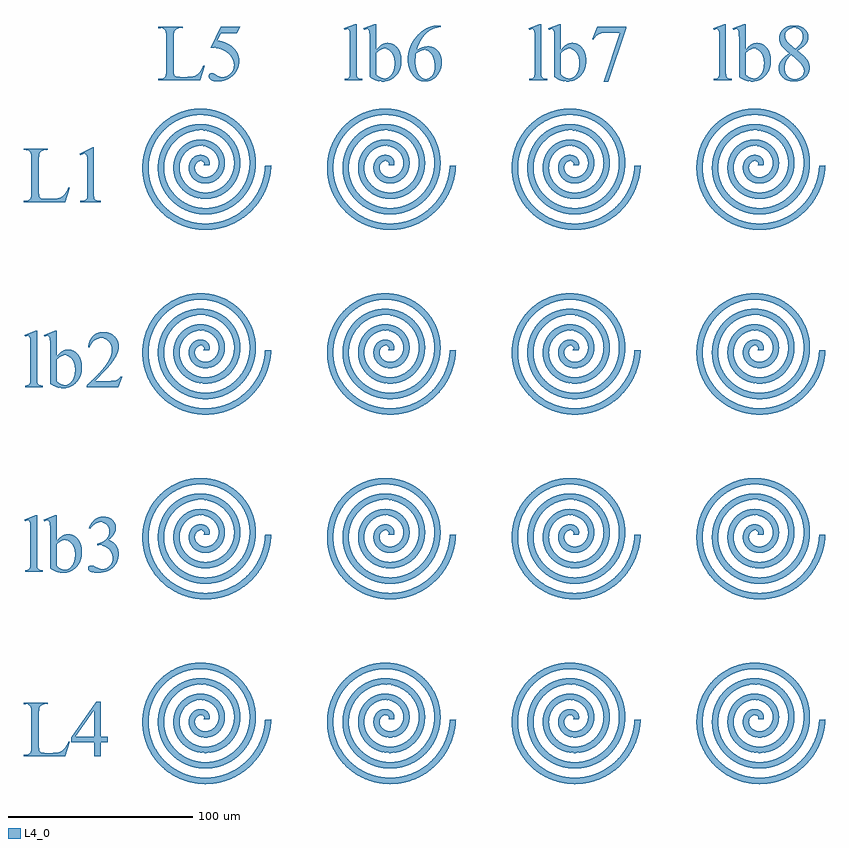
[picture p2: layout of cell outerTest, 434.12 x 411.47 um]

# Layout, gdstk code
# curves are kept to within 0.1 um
import gdstk
lib = gdstk.Library(unit=1e-6, precision=1e-09)
def P(c, l, *ps):  # polygons
    for p in ps: c.add(gdstk.Polygon(p, *l))
L4_0 = (4, 0)

spiral = lib.new_cell('spiral')
P(spiral, L4_0, [(0,0),(0.503,0.218),(0.745,0.767),(3.108,3.217),(3.62,1.585),(3.404,0.009)],
  [(0.745,0.767),(0.55,1.55),(-0.062,2.138),(-0.177,5.54),(0.832,5.223),(1.76,4.703),(2.517,4.033),(3.108,3.217)],
  [(-0.062,2.138),(-1.173,2.433),(-2.366,2.167),(-4.888,4.453),(-3.807,5.093),(-2.605,5.506),(-1.336,5.655),(-0.177,5.54)],
  [(-7.667,-0.469),(-7.343,1.026),(-6.741,2.376),(-5.905,3.53),(-4.888,4.453),(-2.366,2.167),(-3.577,1.192),(-4.271,-0.25)],
  [(-5.702,-6.639),(-6.654,-5.284),(-7.333,-3.736),(-7.672,-2.133),(-7.667,-0.469),(-4.271,-0.25),(-4.396,-1.209),(-4.286,-2.277),(-3.495,-4.047)],
  [(0.886,-9.781),(-0.952,-9.519),(-2.745,-8.885),(-4.4,-7.873),(-5.702,-6.639),(-3.495,-4.047),(-2.753,-4.894),(-1.808,-5.598),(-0.69,-6.111),(0.561,-6.393)],
  [(1.283,-9.79),(0.886,-9.781),(0.561,-6.393),(1.896,-6.41),(3.325,-6.121),(4.582,-5.579),(5.806,-4.726),(8.465,-6.852),(6.945,-8.074),(5.169,-9.02),(3.29,-9.593)],
  [(8.465,-6.852),(5.806,-4.726),(6.914,-3.54),(7.737,-2.168),(8.28,-0.607),(8.498,0.997),(11.874,1.426),(11.655,-0.94),(11.023,-3.056),(9.958,-5.064)],
  [(8.498,0.997),(8.399,2.661),(7.904,4.492),(7.055,6.148),(5.856,7.64),(7.898,10.363),(9.448,8.619),(10.689,6.547),(11.495,4.321),(11.854,2.029),(11.874,1.426)],
  [(5.856,7.64),(4.339,8.891),(2.458,9.873),(0.563,10.413),(-1.556,10.581),(-2.09,13.943),(0.295,13.868),(2.725,13.356),(4.982,12.429),(7.102,11.051),(7.898,10.363)],
  [(-9.542,6.881),(-12.327,8.838),(-11.283,9.937),(-9.297,11.525),(-7.102,12.734),(-4.63,13.572),(-2.09,13.943),(-1.556,10.581),(-3.826,10.288),(-5.934,9.55),(-7.897,8.375)],
  [(-15.981,-2.875),(-15.983,0.192),(-15.365,3.308),(-14.156,6.187),(-12.327,8.838),(-9.542,6.881),(-10.963,4.959),(-12.03,2.624),(-12.579,0.186),(-12.638,-2.237)],
  [(-9.67,-14.354),(-12.028,-12.089),(-13.967,-9.311),(-15.291,-6.249),(-15.981,-2.875),(-12.638,-2.237),(-12.19,-4.801),(-11.218,-7.273),(-9.74,-9.544),(-7.8,-11.51)],
  [(1.403,-18.149),(-1.488,-17.928),(-4.443,-17.197),(-7.195,-15.99),(-9.67,-14.354),(-7.8,-11.51),(-5.461,-13.077),(-2.667,-14.204),(0.212,-14.718),(3.04,-14.662),(3.78,-17.984)],
  [(3.78,-17.984),(3.04,-14.662),(6.142,-13.963),(8.948,-12.683),(11.484,-10.836),(13.538,-8.608),(16.439,-10.389),(13.854,-13.263),(10.79,-15.532),(7.383,-17.12)],
  [(16.439,-10.389),(13.538,-8.608),(15.228,-5.843),(16.389,-2.584),(16.842,0.735),(16.647,3.962),(19.946,4.804),(20.193,2.771),(20.235,0.736),(20.074,-1.279),(19.714,-3.255),(18.425,-7.012)],
  [(16.647,3.962),(15.771,7.302),(14.222,10.448),(12.042,13.263),(9.304,15.621),(10.995,18.576),(13.52,16.569),(15.696,14.228),(17.479,11.611),(18.836,8.784),(19.492,6.816),(19.946,4.804)],
  [(9.304,15.621),(6.103,17.41),(2.559,18.541),(-1.192,18.947),(-5.002,18.59),(-5.946,21.861),(-2.589,22.305),(0.544,22.261),(3.83,21.732),(6.97,20.726),(9.141,19.702),(10.995,18.576)],
  [(-17.755,9.884),(-20.761,11.483),(-19.401,13.422),(-17.699,15.374),(-15.073,17.694),(-12.356,19.466),(-9.227,20.91),(-5.946,21.861),(-5.002,18.59),(-8.715,17.465),(-12.175,15.596),(-13.764,14.4),(-15.234,13.041),(-16.57,11.531)],
  [(-23.725,-7.203),(-24.194,-4.773),(-24.417,-2.321),(-24.393,0.127),(-24.125,2.548),(-23.619,4.916),(-22.883,7.21),(-21.926,9.405),(-20.761,11.483),(-17.755,9.884),(-18.776,8.115),(-19.62,6.241),(-20.275,4.278),(-20.734,2.247),(-20.989,0.167),(-21.034,-1.941),(-20.866,-4.057),(-20.485,-6.158)],
  [(-11.852,-22.988),(-14.015,-21.578),(-16.015,-19.967),(-17.835,-18.173),(-19.458,-16.216),(-20.868,-14.117),(-22.056,-11.9),(-23.01,-9.587),(-23.725,-7.203),(-20.485,-6.158),(-19.891,-8.224),(-19.089,-10.232),(-18.083,-12.161),(-16.881,-13.991),(-15.494,-15.701),(-13.933,-17.274),(-12.212,-18.69),(-10.347,-19.935)],
  [(1.434,-26.533),(-2.005,-26.322),(-5.365,-25.67),(-8.59,-24.594),(-11.852,-22.988),(-10.347,-19.935),(-8.354,-20.992),(-6.254,-21.85),(-4.065,-22.497),(-1.581,-22.954),(0.723,-23.13),(3.046,-23.075),(5.134,-22.826),(7.429,-22.326),(8.574,-25.532),(4.893,-26.295)],
  [(8.574,-25.532),(7.429,-22.326),(9.676,-21.595),(11.85,-20.637),(13.929,-19.459),(15.89,-18.072),(17.713,-16.486),(19.377,-14.717),(20.863,-12.778),(22.155,-10.69),(25.254,-12.1),(23.805,-14.491),(22.133,-16.715),(20.256,-18.75),(18.194,-20.578),(15.971,-22.183),(13.609,-23.551),(11.135,-24.67)],
  [(25.254,-12.1),(22.155,-10.69),(23.237,-8.47),(24.096,-6.141),(24.721,-3.725),(25.103,-1.245),(25.235,1.274),(25.114,3.807),(24.738,6.328),(24.108,8.812),(27.278,10.056),(28.016,7.249),(28.467,4.395),(28.631,1.524),(28.506,-1.335),(28.098,-4.155),(27.413,-6.907),(26.461,-9.564)],
  [(24.108,8.812),(23.229,11.233),(22.105,13.566),(20.747,15.786),(19.165,17.87),(17.373,19.794),(15.388,21.538),(13.227,23.083),(10.911,24.41),(12.225,27.551),(15.603,25.586),(18.902,23.013),(21.599,20.25),(24.06,16.93),(25.898,13.588),(27.278,10.056)],
  [(10.911,24.41),(8.462,25.505),(5.903,26.352),(3.258,26.943),(0.555,27.267),(-2.181,27.32),(-4.921,27.097),(-7.638,26.599),(-10.305,25.828),(-11.646,28.957),(-7.751,30.054),(-3.46,30.656),(0.54,30.672),(4.786,30.111),(8.599,29.07),(12.225,27.551)],
  [(-26.696,11.009),(-29.876,12.225),(-27.888,15.909),(-25.248,19.53),(-22.38,22.515),(-19.167,25.088),(-15.666,27.211),(-11.646,28.957),(-10.305,25.828),(-12.894,24.788),(-15.377,23.489),(-17.73,21.941),(-19.925,20.156),(-21.941,18.151),(-23.755,15.945),(-25.346,13.557)],
  [(-30.565,-13.342),(-31.617,-10.183),(-32.345,-6.948),(-32.744,-3.669),(-32.813,-0.38),(-32.554,2.886),(-31.972,6.096),(-31.076,9.219),(-29.876,12.225),(-26.696,11.009),(-27.79,8.328),(-28.614,5.537),(-29.157,2.665),(-29.411,-0.26),(-29.371,-3.21),(-29.034,-6.154),(-28.402,-9.062),(-27.478,-11.905)],
  [(-12.1,-32.223),(-15.197,-30.734),(-18.118,-28.95),(-20.836,-26.891),(-23.325,-24.58),(-25.561,-22.041),(-27.524,-19.302),(-29.197,-16.393),(-30.565,-13.342),(-27.478,-11.905),(-26.269,-14.654),(-24.785,-17.28),(-23.037,-19.755),(-21.042,-22.053),(-18.818,-24.149),(-16.384,-26.02),(-13.764,-27.646),(-10.983,-29.007)],
  [(1.426,-34.925),(-2.06,-34.76),(-5.499,-34.249),(-8.856,-33.399),(-12.1,-32.223),(-10.983,-29.007),(-8.067,-30.087),(-5.044,-30.874),(-1.945,-31.357),(1.2,-31.528),(4.36,-31.383),(7.503,-30.921),(10.597,-30.144),(13.61,-29.056),(15.142,-32.097),(11.817,-33.322),(8.4,-34.206),(4.924,-34.741)],
  [(15.142,-32.097),(13.61,-29.056),(16.511,-27.667),(19.271,-25.988),(21.859,-24.033),(24.248,-21.82),(26.413,-19.369),(28.33,-16.704),(29.978,-13.848),(31.337,-10.83),(34.586,-11.847),(33.109,-15.185),(31.313,-18.347),(29.216,-21.302),(26.844,-24.023),(24.222,-26.485),(21.377,-28.663),(18.339,-30.54)],
  [(34.586,-11.847),(31.337,-10.83),(32.3,-7.998),(32.941,-5.409),(33.375,-2.768),(33.596,-0.092),(37,0),(36.775,-2.948),(36.243,-6.221),(35.526,-9.071)])

outertest = lib.new_cell('outerTest')
P(outertest, L4_0, [(-87.125,-100),(-87.125,-99.203),(-84.872,-99.061),(-84.12,-98.733),(-83.534,-98.215),(-83.065,-97.055),(-82.922,-94.828),(-82.922,-75.848),(-83.074,-73.805),(-83.388,-72.813),(-83.939,-72.238),(-85.156,-71.732),(-87.125,-71.656),(-87.125,-70.859),(-73.922,-70.859),(-73.922,-71.656),(-76.234,-71.81),(-77.608,-72.335),(-78.358,-73.066),(-78.649,-73.932),(-78.796,-76.199),(-78.797,-94.828),(-78.57,-96.98),(-78.31,-97.478),(-77.856,-97.847),(-76.557,-98.102),(-70.633,-98.125),(-67.653,-97.717),(-66.184,-96.969),(-64.868,-95.744),(-63.823,-94.164),(-62.781,-91.937),(-62.062,-92.094),(-64.562,-100)],
  [(-56.328,-100),(-56.328,-99.203),(-53.745,-98.882),(-53.01,-98.314),(-52.726,-97.615),(-52.595,-95.179),(-52.606,-77.69),(-52.784,-75.12),(-53.303,-74.089),(-53.852,-73.782),(-54.521,-73.729),(-56.516,-74.391),(-56.844,-73.719),(-49.75,-70.266),(-49.047,-70.266),(-48.951,-97.357),(-48.752,-98.13),(-48.289,-98.658),(-47.32,-99.038),(-45.375,-99.203),(-45.375,-100)],
  [(-53.047,-200),(-53.047,-199.203),(-46.59,-192.916),(-44.202,-190.249),(-42.375,-187.898),(-41.095,-185.886),(-40.154,-183.956),(-39.583,-182.23),(-39.308,-180.577),(-39.415,-178.412),(-40.011,-176.681),(-41.191,-175.119),(-42.715,-174.052),(-44.04,-173.632),(-45.313,-173.552),(-46.715,-173.754),(-48.016,-174.254),(-49.109,-174.967),(-50.055,-175.914),(-50.826,-177.092),(-51.422,-178.5),(-52.219,-178.5),(-51.871,-176.734),(-51.297,-175.076),(-50.514,-173.651),(-49.522,-172.457),(-48.274,-171.461),(-46.87,-170.764),(-45.309,-170.367),(-43.576,-170.271),(-41.904,-170.466),(-40.287,-170.985),(-38.998,-171.709),(-37.838,-172.682),(-36.836,-173.883),(-36.131,-175.186),(-35.74,-176.501),(-35.609,-177.906),(-35.731,-179.432),(-36.097,-180.957),(-37.432,-183.882),(-39.763,-187.313),(-43.66,-191.731),(-48.484,-196.75),(-40.051,-196.744),(-37.739,-196.599),(-36.73,-196.318),(-35.93,-195.883),(-35.225,-195.248),(-34.625,-194.391),(-33.828,-194.391),(-35.859,-200)],
  [(-86.328,-200),(-86.328,-199.219),(-84.869,-199.09),(-84.137,-198.687),(-83.686,-197.982),(-83.492,-197.08),(-83.431,-176.168),(-83.552,-173.691),(-83.898,-172.717),(-84.332,-172.375),(-84.842,-172.267),(-86.328,-172.609),(-86.687,-171.859),(-80.828,-169.453),(-79.859,-169.453),(-79.791,-197.092),(-79.603,-197.969),(-79.134,-198.644),(-78.316,-199.075),(-76.672,-199.219),(-76.672,-200)],
  [(-65.672,-200.609),(-67.076,-200.506),(-68.496,-200.197),(-71.268,-199.031),(-64.138,-199.006),(-63.019,-198.677),(-61.892,-197.921),(-60.526,-196.315),(-59.656,-194.244),(-59.261,-191.622),(-59.368,-188.637),(-59.739,-187.015),(-60.348,-185.641),(-61.351,-184.346),(-62.488,-183.437),(-63.717,-182.923),(-65.051,-182.806),(-66.334,-183.07),(-67.63,-183.724),(-69.234,-185.094),(-69.234,-196.859),(-68.121,-197.805),(-66.969,-198.484),(-65.781,-198.895),(-64.562,-199.031),(-71.268,-199.031),(-72.781,-198.109),(-72.782,-177.311),(-72.901,-173.835),(-73.141,-172.951),(-73.572,-172.451),(-74.454,-172.271),(-75.812,-172.609),(-76.109,-171.859),(-70.203,-169.453),(-69.234,-169.453),(-69.234,-183.719),(-67.497,-181.704),(-65.581,-180.342),(-63.68,-179.769),(-61.507,-179.917),(-60.392,-180.304),(-59.42,-180.851),(-57.575,-182.575),(-56.367,-184.643),(-55.69,-187.157),(-55.539,-189.894),(-55.837,-192.342),(-56.51,-194.402),(-57.648,-196.351),(-59.376,-198.179),(-61.337,-199.529),(-63.544,-200.366)],
  [(-47.141,-300.516),(-49.745,-300.308),(-50.691,-300.031),(-51.346,-299.643),(-51.985,-298.975),(-52.215,-298.322),(-52.092,-297.631),(-51.581,-297.005),(-50.839,-296.67),(-49.885,-296.695),(-45.869,-298.435),(-44.49,-298.637),(-43.207,-298.535),(-41.866,-298.043),(-40.658,-297.151),(-39.596,-295.825),(-39.02,-294.454),(-38.829,-292.831),(-39.065,-291.051),(-39.72,-289.333),(-40.646,-287.962),(-42.067,-286.882),(-43.848,-286.042),(-45.483,-285.629),(-47.312,-285.547),(-47.312,-284.891),(-45.831,-284.557),(-44.341,-283.913),(-42.936,-282.998),(-41.875,-281.924),(-41.248,-280.884),(-40.804,-279.56),(-40.657,-278.231),(-40.766,-276.952),(-41.31,-275.491),(-42.304,-274.31),(-43.592,-273.529),(-45.229,-273.193),(-46.699,-273.313),(-48.018,-273.775),(-49.638,-274.949),(-51.062,-276.75),(-51.766,-276.406),(-50.921,-274.701),(-50.053,-273.389),(-49.082,-272.288),(-48.001,-271.406),(-46.775,-270.772),(-45.4,-270.392),(-44.052,-270.267),(-42.422,-270.375),(-40.702,-270.872),(-39.339,-271.714),(-38.106,-273.08),(-37.328,-274.639),(-37.109,-276.571),(-37.656,-278.591),(-38.984,-280.651),(-41.094,-282.75),(-39.686,-283.411),(-38.486,-284.214),(-37.493,-285.162),(-36.635,-286.378),(-36.091,-287.594),(-35.742,-289.075),(-35.657,-290.477),(-35.788,-292.076),(-36.258,-293.887),(-37.01,-295.46),(-38.161,-297.018),(-39.565,-298.313),(-41.068,-299.243),(-42.921,-299.965),(-44.839,-300.367)],
  [(-86.328,-300),(-86.328,-299.219),(-84.869,-299.09),(-84.137,-298.687),(-83.686,-297.982),(-83.492,-297.08),(-83.431,-276.168),(-83.552,-273.691),(-83.898,-272.717),(-84.332,-272.375),(-84.842,-272.267),(-86.328,-272.609),(-86.687,-271.859),(-80.828,-269.453),(-79.859,-269.453),(-79.791,-297.092),(-79.603,-297.969),(-79.134,-298.644),(-78.316,-299.075),(-76.672,-299.219),(-76.672,-300)],
  [(-65.672,-300.609),(-67.076,-300.506),(-68.496,-300.197),(-71.268,-299.031),(-64.138,-299.006),(-63.019,-298.677),(-61.892,-297.921),(-60.526,-296.315),(-59.656,-294.244),(-59.261,-291.622),(-59.368,-288.637),(-59.739,-287.015),(-60.348,-285.641),(-61.351,-284.346),(-62.488,-283.437),(-63.717,-282.923),(-65.051,-282.806),(-66.334,-283.07),(-67.63,-283.724),(-69.234,-285.094),(-69.234,-296.859),(-68.121,-297.805),(-66.969,-298.484),(-65.781,-298.895),(-64.562,-299.031),(-71.268,-299.031),(-72.781,-298.109),(-72.782,-277.311),(-72.901,-273.835),(-73.141,-272.951),(-73.572,-272.451),(-74.454,-272.271),(-75.812,-272.609),(-76.109,-271.859),(-70.203,-269.453),(-69.234,-269.453),(-69.234,-283.719),(-67.497,-281.704),(-65.581,-280.342),(-63.68,-279.769),(-61.507,-279.917),(-60.392,-280.304),(-59.42,-280.851),(-57.575,-282.575),(-56.367,-284.643),(-55.69,-287.157),(-55.539,-289.894),(-55.837,-292.342),(-56.51,-294.402),(-57.648,-296.351),(-59.376,-298.179),(-61.337,-299.529),(-63.544,-300.366)],
  [(-87.125,-400),(-87.125,-399.203),(-84.872,-399.061),(-84.12,-398.733),(-83.534,-398.215),(-83.065,-397.055),(-82.922,-394.828),(-82.922,-375.848),(-83.074,-373.805),(-83.388,-372.813),(-83.939,-372.238),(-85.156,-371.732),(-87.125,-371.656),(-87.125,-370.859),(-73.922,-370.859),(-73.922,-371.656),(-76.234,-371.81),(-77.608,-372.335),(-78.358,-373.066),(-78.649,-373.932),(-78.796,-376.199),(-78.797,-394.828),(-78.57,-396.98),(-78.31,-397.478),(-77.856,-397.847),(-76.557,-398.102),(-70.633,-398.125),(-67.653,-397.717),(-66.184,-396.969),(-64.868,-395.744),(-63.823,-394.164),(-62.781,-391.937),(-62.062,-392.094),(-64.562,-400)],
  [(-48.984,-400),(-48.984,-392.312),(-61.312,-392.312),(-61.312,-389.562),(-61.094,-389.25),(-48.984,-389.25),(-48.984,-374.797),(-59.203,-389.25),(-61.094,-389.25),(-47.797,-370.266),(-45.437,-370.266),(-45.437,-389.25),(-41.531,-389.25),(-41.531,-392.312),(-45.437,-392.312),(-45.437,-400)],
  [(-14.125,-34),(-14.125,-33.203),(-11.872,-33.061),(-11.12,-32.733),(-10.534,-32.215),(-10.065,-31.055),(-9.922,-28.828),(-9.922,-9.848),(-10.074,-7.805),(-10.388,-6.813),(-10.939,-6.238),(-12.156,-5.732),(-14.125,-5.656),(-14.125,-4.859),(-0.922,-4.859),(-0.922,-5.656),(-3.234,-5.81),(-4.608,-6.335),(-5.358,-7.066),(-5.649,-7.932),(-5.796,-10.199),(-5.797,-28.828),(-5.57,-30.98),(-5.31,-31.478),(-4.856,-31.847),(-3.557,-32.102),(2.367,-32.125),(5.347,-31.717),(6.816,-30.969),(8.132,-29.744),(9.177,-28.164),(10.219,-25.937),(10.938,-26.094),(8.438,-34)],
  [(18.109,-34.516),(15.726,-34.264),(14.153,-33.513),(13.485,-32.81),(13.166,-32.119),(13.14,-31.367),(13.434,-30.774),(14.277,-30.202),(15.492,-30.192),(18.26,-31.773),(20.102,-32.28),(21.735,-32.178),(23.15,-31.696),(24.93,-30.398),(26.194,-28.648),(26.782,-26.6),(26.663,-24.15),(26.098,-22.451),(25.133,-20.836),(23.947,-19.508),(22.353,-18.286),(20.453,-17.312),(18.823,-16.786),(16.65,-16.391),(14.078,-16.187),(19.656,-4.859),(30.094,-4.859),(28.422,-8.516),(19.656,-8.516),(17.75,-12.422),(20.286,-12.957),(22.564,-13.773),(24.582,-14.868),(26.34,-16.242),(27.737,-17.788),(28.77,-19.516),(29.399,-21.389),(29.624,-23.408),(29.421,-25.611),(28.808,-27.543),(27.716,-29.499),(26.344,-31.125),(24.545,-32.565),(22.413,-33.67),(20.206,-34.32)],
  [(130.047,-34.516),(127.851,-34.213),(125.939,-33.312),(130.788,-33.311),(131.687,-33.173),(133.147,-32.4),(134.394,-31.021),(135.241,-28.921),(135.479,-26.061),(135.119,-23.092),(134.2,-20.503),(133.485,-19.322),(132.634,-18.429),(131.648,-17.83),(130.528,-17.526),(129.355,-17.518),(128.242,-17.786),(125.359,-19.297),(125.024,-22.49),(124.987,-24.638),(125.298,-26.846),(125.937,-29.058),(126.902,-30.987),(128.069,-32.359),(129.215,-33.059),(130.672,-33.312),(125.939,-33.312),(124.475,-32.042),(123.09,-30.328),(122.11,-28.579),(121.417,-26.67),(121.011,-24.601),(120.892,-22.319),(121.076,-19.922),(121.567,-17.6),(122.662,-14.695),(124.227,-12.005),(126.062,-9.754),(128.553,-7.49),(130.819,-5.976),(133.168,-4.989),(135.853,-4.377),(138.719,-4.266),(138.719,-5.062),(136.148,-5.484),(134.207,-6.135),(132.419,-7.176),(130.547,-8.773),(129.038,-10.494),(127.794,-12.39),(126.776,-14.527),(125.868,-17.191),(125.719,-17.734),(128.043,-16.439),(130.572,-15.711),(132.399,-15.624),(134.064,-15.948),(135.816,-16.852),(137.244,-18.167),(138.355,-19.832),(139.014,-21.663),(139.295,-23.968),(139.103,-26.316),(138.436,-28.517),(137.295,-30.577),(135.843,-32.284),(134.106,-33.544),(132.251,-34.258)],
  [(86.672,-34),(86.672,-33.219),(88.131,-33.09),(88.863,-32.687),(89.314,-31.982),(89.508,-31.08),(89.569,-10.168),(89.448,-7.691),(89.102,-6.717),(88.668,-6.375),(88.158,-6.267),(86.672,-6.609),(86.313,-5.859),(92.172,-3.453),(93.141,-3.453),(93.209,-31.092),(93.397,-31.969),(93.866,-32.644),(94.684,-33.075),(96.328,-33.219),(96.328,-34)],
  [(107.328,-34.609),(105.924,-34.506),(104.504,-34.197),(101.732,-33.031),(108.862,-33.006),(109.981,-32.677),(111.108,-31.921),(112.474,-30.315),(113.344,-28.244),(113.739,-25.622),(113.632,-22.637),(113.261,-21.015),(112.652,-19.641),(111.649,-18.346),(110.512,-17.437),(109.283,-16.923),(107.949,-16.806),(106.666,-17.07),(105.37,-17.724),(103.766,-19.094),(103.766,-30.859),(104.879,-31.805),(106.031,-32.484),(107.219,-32.895),(108.438,-33.031),(101.732,-33.031),(100.219,-32.109),(100.218,-11.311),(100.099,-7.835),(99.859,-6.951),(99.428,-6.451),(98.546,-6.271),(97.188,-6.609),(96.891,-5.859),(102.797,-3.453),(103.766,-3.453),(103.766,-17.719),(105.503,-15.704),(107.419,-14.342),(109.32,-13.769),(111.493,-13.917),(112.608,-14.304),(113.58,-14.851),(115.425,-16.575),(116.633,-18.643),(117.31,-21.157),(117.461,-23.894),(117.163,-26.342),(116.49,-28.402),(115.352,-30.351),(113.624,-32.179),(111.663,-33.529),(109.456,-34.366)],
  [(226.922,-34.609),(235.625,-8.375),(227.167,-8.38),(225.03,-8.624),(224.045,-9.016),(222.905,-9.843),(222.01,-10.816),(221.25,-12),(220.641,-11.766),(223.422,-4.859),(239.047,-4.859),(239.047,-5.687),(229.328,-34.609)],
  [(186.672,-34),(186.672,-33.219),(188.131,-33.09),(188.863,-32.687),(189.314,-31.982),(189.508,-31.08),(189.569,-10.168),(189.448,-7.691),(189.102,-6.717),(188.668,-6.375),(188.158,-6.267),(186.672,-6.609),(186.313,-5.859),(192.172,-3.453),(193.141,-3.453),(193.209,-31.092),(193.397,-31.969),(193.866,-32.644),(194.684,-33.075),(196.328,-33.219),(196.328,-34)],
  [(207.328,-34.609),(205.924,-34.506),(204.504,-34.197),(201.732,-33.031),(208.862,-33.006),(209.981,-32.677),(211.108,-31.921),(212.474,-30.315),(213.344,-28.244),(213.739,-25.622),(213.632,-22.637),(213.261,-21.015),(212.652,-19.641),(211.649,-18.346),(210.512,-17.437),(209.283,-16.923),(207.949,-16.806),(206.666,-17.07),(205.37,-17.724),(203.766,-19.094),(203.766,-30.859),(204.879,-31.805),(206.031,-32.484),(207.219,-32.895),(208.438,-33.031),(201.732,-33.031),(200.219,-32.109),(200.218,-11.311),(200.099,-7.835),(199.859,-6.951),(199.428,-6.451),(198.546,-6.271),(197.188,-6.609),(196.891,-5.859),(202.797,-3.453),(203.766,-3.453),(203.766,-17.719),(205.503,-15.704),(207.419,-14.342),(209.32,-13.769),(211.493,-13.917),(212.608,-14.304),(213.58,-14.851),(215.425,-16.575),(216.633,-18.643),(217.31,-21.157),(217.461,-23.894),(217.163,-26.342),(216.49,-28.402),(215.352,-30.351),(213.624,-32.179),(211.663,-33.529),(209.456,-34.366)],
  [(329.984,-34.516),(327.455,-34.236),(325.257,-33.359),(330.754,-33.348),(332.64,-32.944),(333.769,-32.281),(334.651,-31.355),(335.207,-30.29),(335.432,-29.092),(335.259,-27.481),(334.625,-26.094),(333.039,-24.187),(330.579,-21.89),(328.453,-20.141),(328.127,-20.424),(326.741,-21.915),(325.813,-23.414),(325.196,-25.14),(324.956,-26.993),(325.243,-29.47),(325.669,-30.546),(326.285,-31.483),(327.171,-32.344),(328.072,-32.89),(329.075,-33.228),(330.328,-33.359),(325.257,-33.359),(324.787,-33.057),(323.516,-31.922),(322.466,-30.438),(321.852,-28.866),(321.672,-27.359),(321.996,-25.432),(323.052,-23.404),(324.734,-21.525),(327.438,-19.328),(324.862,-17.031),(330.813,-17.031),(333.297,-14.506),(334.379,-12.666),(334.723,-11.15),(334.735,-9.644),(334.449,-8.311),(333.865,-7.211),(332.993,-6.356),(331.895,-5.795),(330.449,-5.527),(329.004,-5.595),(327.322,-6.169),(325.949,-7.356),(325.218,-8.827),(325.164,-10.444),(325.672,-11.977),(326.682,-13.465),(330.813,-17.031),(324.862,-17.031),(323.638,-15.695),(322.863,-14.55),(322.149,-12.681),(321.989,-10.94),(322.319,-9.112),(323.118,-7.537),(324.389,-6.132),(325.942,-5.109),(327.775,-4.487),(329.887,-4.266),(332.454,-4.535),(334.519,-5.342),(336.299,-6.791),(337.474,-8.637),(337.776,-9.782),(337.8,-11.045),(337.5,-12.29),(336.937,-13.444),(336.239,-14.412),(335.165,-15.466),(331.828,-17.859),(335.122,-20.615),(336.929,-22.606),(338.059,-24.715),(338.366,-25.882),(338.469,-27.078),(338.322,-28.561),(337.846,-30.014),(337.095,-31.265),(335.977,-32.47),(334.692,-33.39),(333.322,-34.004),(331.684,-34.396)],
  [(286.672,-34),(286.672,-33.219),(288.131,-33.09),(288.863,-32.687),(289.314,-31.982),(289.508,-31.08),(289.569,-10.168),(289.448,-7.691),(289.102,-6.717),(288.668,-6.375),(288.158,-6.267),(286.672,-6.609),(286.313,-5.859),(292.172,-3.453),(293.141,-3.453),(293.209,-31.092),(293.397,-31.969),(293.866,-32.644),(294.684,-33.075),(296.328,-33.219),(296.328,-34)],
  [(307.328,-34.609),(305.924,-34.506),(304.504,-34.197),(301.732,-33.031),(308.862,-33.006),(309.981,-32.677),(311.108,-31.921),(312.474,-30.315),(313.344,-28.244),(313.739,-25.622),(313.632,-22.637),(313.261,-21.015),(312.652,-19.641),(311.649,-18.346),(310.512,-17.437),(309.283,-16.923),(307.949,-16.806),(306.666,-17.07),(305.37,-17.724),(303.766,-19.094),(303.766,-30.859),(304.879,-31.805),(306.031,-32.484),(307.219,-32.895),(308.438,-33.031),(301.732,-33.031),(300.219,-32.109),(300.218,-11.311),(300.099,-7.835),(299.859,-6.951),(299.428,-6.451),(298.546,-6.271),(297.188,-6.609),(296.891,-5.859),(302.797,-3.453),(303.766,-3.453),(303.766,-17.719),(305.503,-15.704),(307.419,-14.342),(309.32,-13.769),(311.493,-13.917),(312.608,-14.304),(313.58,-14.851),(315.425,-16.575),(316.633,-18.643),(317.31,-21.157),(317.461,-23.894),(317.163,-26.342),(316.49,-28.402),(315.352,-30.351),(313.624,-32.179),(311.663,-33.529),(309.456,-34.366)])
r = gdstk.Reference(spiral, (10,-380)); r.repetition = gdstk.Repetition(4, 4, v1=(100,0), v2=(0,100)); outertest.add(r)

lib.write_gds('outerTest.gds')
